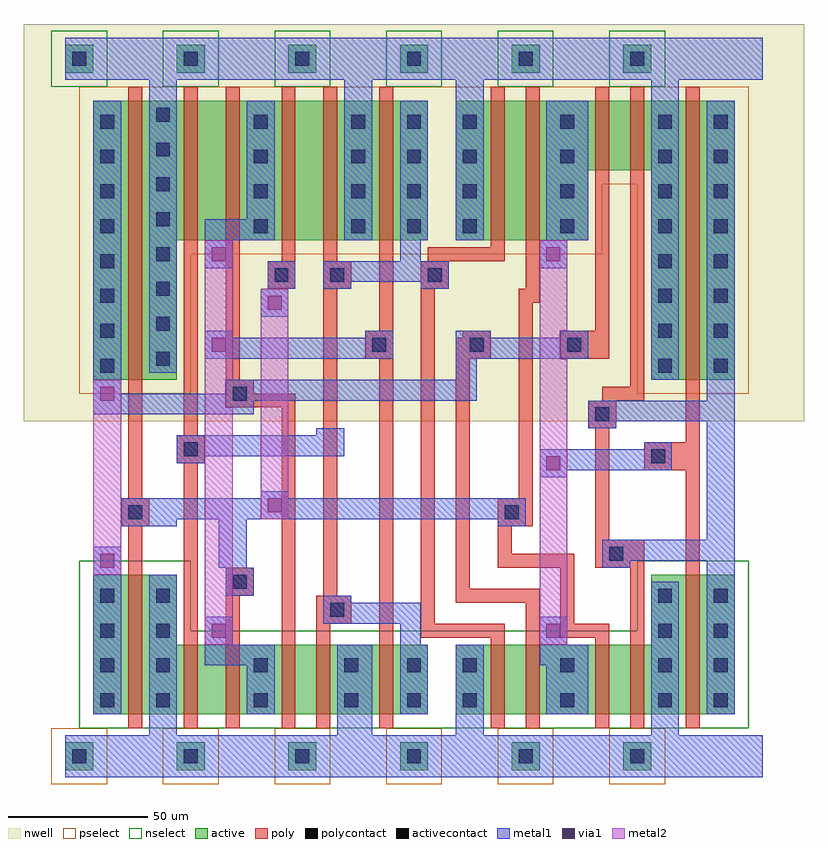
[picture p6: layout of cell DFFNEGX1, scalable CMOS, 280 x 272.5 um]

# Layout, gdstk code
import gdstk
lib = gdstk.Library(unit=1e-6, precision=1e-09)
def R(c, l, rs):  # rectangles x0, y0, x1, y1
    for r in rs: c.add(gdstk.rectangle(r[:2], r[2:], *l))
def A(c, l, x, y, w, h, nx, ny, dx, dy):  # array of equal rectangles
    R(c, l, [(x+i*dx, y+j*dy, x+i*dx+w, y+j*dy+h) for i in range(nx) for j in range(ny)])
nwell = (42, 0)
active = (43, 0)
pselect = (44, 0)
nselect = (45, 0)
poly = (46, 0)
polycontact = (47, 0)
activecontact = (48, 0)
metal1 = (49, 0)
via1 = (50, 0)
metal2 = (51, 0)

dffnegx1 = lib.new_cell('DFFNEGX1')
R(dffnegx1, nwell, [(-20,120,260,262.5)])
A(dffnegx1, active, -5, -5, 10, 10, 6, 2, 40, 250)
R(dffnegx1, active, [(5,15,125,40), (135,15,235,40), (5,40,35,65), (205,40,235,65), (5,135,35,185), (205,135,235,210), (5,185,125,235), (135,185,182.5,210), (135,210,235,235)])
A(dffnegx1, pselect, -10, -10, 20, 20, 6, 1, 40, 0)
R(dffnegx1, pselect, [(0,130,40,180), (200,130,240,205), (0,180,187.5,205), (0,205,240,240)])
A(dffnegx1, nselect, -10, 240, 20, 20, 6, 1, 40, 0)
R(dffnegx1, nselect, [(0,10,240,45), (0,45,40,70), (200,45,240,70)])
R(dffnegx1, poly, [(17.5,10,22.5,82.5), (37.5,10,42.5,105), (52.5,10,57.5,57.5), (72.5,10,77.5,125), (85,10,90,47.5), (107.5,10,112.5,142.5), (147.5,10,152.5,42.5), (160,10,165,55), (185,10,190,42.5), (197.5,10,202.5,67.5), (217.5,10,222.5,102.5), (122.5,42.5,152.5,47.5), (172.5,42.5,190,47.5), (85,47.5,97.5,57.5), (122.5,47.5,127.5,167.5), (172.5,47.5,177.5,67.5), (135,55,165,60), (52.5,57.5,62.5,67.5), (87.5,57.5,92.5,167.5), (135,60,140,142.5), (150,67.5,177.5,72.5), (185,67.5,202.5,77.5), (150,72.5,155,82.5), (185,77.5,190,117.5), (15,82.5,25,92.5), (150,82.5,162.5,92.5), (17.5,92.5,22.5,240), (157.5,92.5,162.5,162.5), (202.5,102.5,222.5,112.5), (35,105,45,115), (217.5,112.5,222.5,240), (37.5,115,42.5,240), (182.5,117.5,192.5,127.5), (52.5,125,77.5,130), (187.5,127.5,202.5,132.5), (52.5,130,62.5,135), (197.5,132.5,202.5,240), (52.5,135,57.5,240), (102.5,142.5,112.5,152.5), (135,142.5,147.5,150), (172.5,142.5,190,152.5), (137.5,150,147.5,152.5), (107.5,152.5,112.5,240), (185,152.5,190,240), (157.5,162.5,165,167.5), (67.5,167.5,77.5,177.5), (87.5,167.5,97.5,177.5), (122.5,167.5,132.5,177.5), (160,167.5,165,240), (72.5,177.5,77.5,240), (87.5,177.5,92.5,240), (125,177.5,152.5,182.5), (147.5,182.5,152.5,240)])
A(dffnegx1, polycontact, 105, 145, 5, 5, 3, 1, 35, 0)
R(dffnegx1, polycontact, [(90,50,95,55), (55,60,60,65), (190,70,195,75), (17.5,85,22.5,90), (152.5,85,157.5,90), (205,105,210,110), (37.5,107.5,42.5,112.5), (185,120,190,125), (55,127.5,60,132.5), (70,170,75,175), (90,170,95,175), (125,170,130,175)])
A(dffnegx1, activecontact, -2.5, -2.5, 5, 5, 6, 2, 40, 250)
A(dffnegx1, activecontact, 7.5, 17.5, 5, 5, 1, 4, 0, 12.5)
A(dffnegx1, activecontact, 27.5, 17.5, 5, 5, 1, 4, 0, 12.5)
A(dffnegx1, activecontact, 137.5, 17.5, 5, 5, 3, 2, 35, 12.5)
A(dffnegx1, activecontact, 227.5, 17.5, 5, 5, 1, 4, 0, 12.5)
A(dffnegx1, activecontact, 7.5, 137.5, 5, 5, 1, 8, 0, 12.5)
A(dffnegx1, activecontact, 207.5, 137.5, 5, 5, 1, 8, 0, 12.5)
A(dffnegx1, activecontact, 227.5, 137.5, 5, 5, 1, 8, 0, 12.5)
A(dffnegx1, activecontact, 27.5, 140, 5, 5, 1, 8, 0, 12.5)
A(dffnegx1, activecontact, 62.5, 187.5, 5, 5, 1, 4, 0, 12.5)
A(dffnegx1, activecontact, 97.5, 187.5, 5, 5, 3, 4, 20, 12.5)
A(dffnegx1, activecontact, 172.5, 187.5, 5, 5, 1, 4, 0, 12.5)
R(dffnegx1, activecontact, [(62.5,17.5,67.5,22.5), (95,17.5,100,22.5), (117.5,17.5,122.5,22.5), (62.5,30,67.5,35), (95,30,100,35), (117.5,30,122.5,35), (207.5,42.5,212.5,47.5), (207.5,55,212.5,60)])
R(dffnegx1, metal1, [(-5,-7.5,245,7.5), (25,7.5,35,65), (92.5,7.5,105,40), (135,7.5,145,40), (205,7.5,215,62.5), (5,15,15,75), (60,15,70,32.5), (115,15,125,40), (167.5,15,182.5,32.5), (225,15,235,70), (45,32.5,70,40), (165,32.5,182.5,40), (45,40,55,50), (115,40,122.5,47.5), (165,40,175,50), (87.5,47.5,122.5,55), (87.5,55,97.5,57.5), (52.5,57.5,62.5,67.5), (50,67.5,60,85), (187.5,67.5,197.5,70), (187.5,70,235,77.5), (225,77.5,235,120), (15,82.5,35,85), (150,82.5,160,85), (15,85,160,92.5), (65,92.5,75,95), (165,100,175,102.5), (165,102.5,212.5,110), (35,105,45,107.5), (35,107.5,95,115), (202.5,110,212.5,112.5), (85,115,95,117.5), (182.5,117.5,192.5,120), (182.5,120,235,127.5), (5,122.5,62.5,127.5), (5,127.5,142.5,130), (225,127.5,235,235), (5,130,15,235), (52.5,130,142.5,135), (135,135,142.5,142.5), (205,135,215,242.5), (25,137.5,35,242.5), (45,142.5,112.5,150), (135,142.5,182.5,150), (45,150,55,152.5), (102.5,150,112.5,152.5), (135,150,147.5,152.5), (172.5,150,182.5,152.5), (65,157.5,75,167.5), (67.5,167.5,77.5,177.5), (87.5,167.5,97.5,170), (122.5,167.5,132.5,170), (87.5,170,132.5,177.5), (45,175,55,185), (165,175,175,185), (115,177.5,122.5,185), (45,185,70,192.5), (95,185,105,242.5), (115,185,125,235), (135,185,145,242.5), (167.5,185,182.5,235), (60,192.5,70,235), (-5,242.5,245,257.5)])
R(dffnegx1, via1, [(47.5,42.5,52.5,47.5), (167.5,42.5,172.5,47.5), (7.5,67.5,12.5,72.5), (67.5,87.5,72.5,92.5), (167.5,102.5,172.5,107.5), (7.5,127.5,12.5,132.5), (47.5,145,52.5,150), (67.5,160,72.5,165), (47.5,177.5,52.5,182.5), (167.5,177.5,172.5,182.5)])
R(dffnegx1, metal2, [(45,40,55,125), (165,40,175,142.5), (5,65,15,135), (65,85,75,167.5), (45,125,52.5,135), (45,135,55,185), (165,142.5,172.5,152.5), (165,152.5,175,185)])

lib.write_gds('DFFNEGX1.gds')
